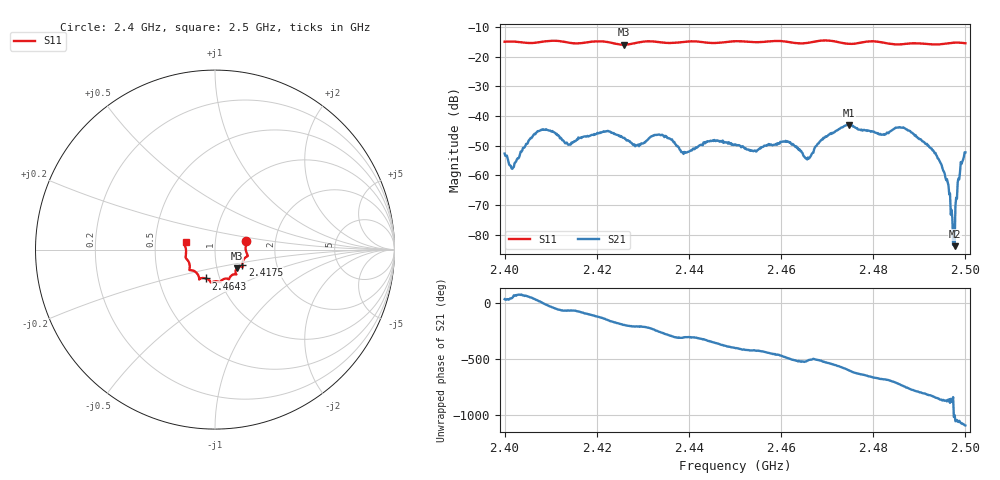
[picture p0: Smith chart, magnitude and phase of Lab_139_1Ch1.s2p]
# Hz S RI R 50
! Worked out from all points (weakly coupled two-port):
!   601 points, 2.4 GHz to 2.5 GHz, reference 50 ohm
!   highest |S21| = -42.95 dB at 2.4747 GHz (marker M1); lowest = -83.8 dB at 2.4977 GHz (marker M2)
!   lowest |S11| = -15.9 dB at 2.4258 GHz (marker M3), VSWR 1.38, Z = 62.3 - j13.3 ohm
!   |S11| at or under -10 dB: start of sweep to end of sweep
!   S12 and S22 are empty: the file has one direction only
!   S11 on the Smith chart (normalised r, x): 2.4 GHz: 1.41, +0.14; 2.4175 GHz: 1.34, -0.23; 2.4643 GHz: 0.86, -0.29; 2.5 GHz: 0.72, +0.06
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2.4e9  0.1732 0.0485  0.00189 0.00138  0 0  0 0
2.401833e9  0.1759 0.0414  0.000764 0.00112  0 0  0 0
2.408167e9  0.178 -0.0225  0.00585 0.000426  0 0  0 0
2.413833e9  0.1675 -0.0454  0.00142 -0.00297  0 0  0 0
2.416667e9  0.1531 -0.0742  0.000636 -0.00422  0 0  0 0
2.4175e9  0.152 -0.0836  -0.000118 -0.00455  0 0  0 0
2.425833e9  0.1217 -0.1038  -0.00415 0.00107  0 0  0 0
2.433333e9  0.113 -0.1371  -0.00153 0.00466  0 0  0 0
2.438833e9  0.0806 -0.1586  0.0013 0.0019  0 0  0 0
2.45e9  0.0287 -0.1808  0.00259 -0.00213  0 0  0 0
2.461167e9  -0.0267 -0.1777  -0.00218 -0.00296  0 0  0 0
2.464333e9  -0.0499 -0.1608  -0.00249 -0.000717  0 0  0 0
2.466667e9  -0.0759 -0.1595  -0.00185 -0.0014  0 0  0 0
2.474667e9  -0.1032 -0.1292  -0.0035 0.0062  0 0  0 0
2.483333e9  -0.1407 -0.0901  0.00437 0.00274  0 0  0 0
2.486833e9  -0.1546 -0.057  0.00566 -0.00261  0 0  0 0
2.493167e9  -0.1609 -0.0122  -0.00107 -0.00229  0 0  0 0
2.495833e9  -0.1662 0.0182  -0.000725 -0.00041  0 0  0 0
2.497167e9  -0.1697 0.0278  -0.000183 -5.67e-05  0 0  0 0
2.497667e9  -0.1703 0.0308  1.09e-05 6.33e-05  0 0  0 0
2.498833e9  -0.1693 0.0364  0.00108 0.000366  0 0  0 0
2.5e9  -0.1637 0.0428  0.00239 -0.000525  0 0  0 0
